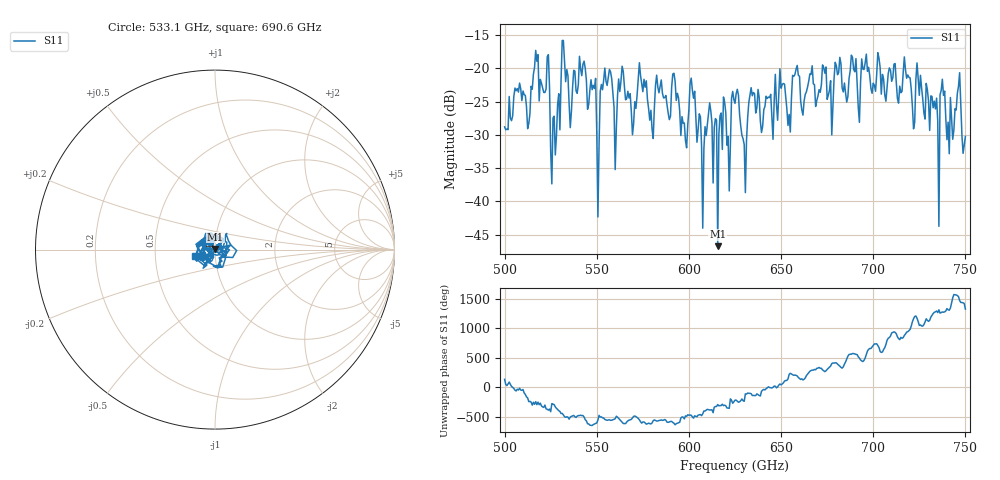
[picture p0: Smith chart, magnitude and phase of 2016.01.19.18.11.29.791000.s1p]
!Created with skrf (http://scikit-rf.org).
# GHz S RI R 50.0
!freq ReS11 ImS11
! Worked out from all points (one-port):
!   401 points, 500 GHz to 750 GHz, reference 50 ohm
!   lowest |S11| = -46.7 dB at 615.6 GHz (marker M1), VSWR 1.01, Z = 50.2 + j0.416 ohm
!   |S11| at or under -10 dB: start of sweep to end of sweep
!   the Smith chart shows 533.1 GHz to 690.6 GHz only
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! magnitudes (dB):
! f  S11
! 500 GHz  -28.8
! 506.9 GHz  -23.0
! 513.1 GHz  -28.3
! 516.9 GHz  -17.3
! 523.1 GHz  -18.3
! 526.2 GHz  -27.5
! 531.2 GHz  -15.8
! 548.1 GHz  -22.6
! 551.2 GHz  -31.5
! 553.1 GHz  -23.2
! 560 GHz  -35.2
! 562.5 GHz  -23.5
! 570 GHz  -28.3
! 574.4 GHz  -22.4
! 579.4 GHz  -26.3
! 593.8 GHz  -23.8
! 615.6 GHz  -46.7
! 625 GHz  -25.3
! 630 GHz  -31.5
! 634.4 GHz  -24.1
! 656.2 GHz  -21.1
! 687.5 GHz  -20.4
! 718.8 GHz  -21.0
! 734.4 GHz  -24.5
! 737.5 GHz  -21.6
! 742.5 GHz  -27.7
! 746.2 GHz  -22.7
! 750 GHz  -30.2
